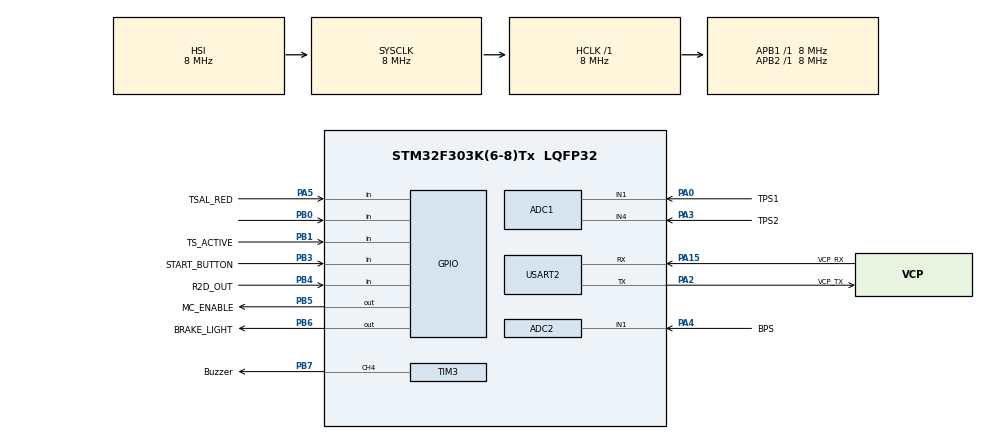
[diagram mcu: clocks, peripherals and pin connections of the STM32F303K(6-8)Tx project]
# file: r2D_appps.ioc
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ADC1.Channel-0\#ChannelRegularConversion=ADC_CHANNEL_1
ADC1.Channel-1\#ChannelRegularConversion=ADC_CHANNEL_4
ADC1.ContinuousConvMode=ENABLE
ADC1.NbrOfConversion=2
ADC1.NbrOfConversionFlag=1
ADC1.Offset-0\#ChannelRegularConversion=0
ADC1.Offset-1\#ChannelRegularConversion=0
ADC1.OffsetNumber-0\#ChannelRegularConversion=ADC_OFFSET_NONE
ADC1.OffsetNumber-1\#ChannelRegularConversion=ADC_OFFSET_NONE
ADC1.Rank-0\#ChannelRegularConversion=1
ADC1.Rank-1\#ChannelRegularConversion=2
ADC1.SamplingTime-0\#ChannelRegularConversion=ADC_SAMPLETIME_1CYCLE_5
ADC1.SamplingTime-1\#ChannelRegularConversion=ADC_SAMPLETIME_1CYCLE_5
ADC1.SamplingTimeOPAMP-1\#ChannelRegularConversion=ADC_SAMPLETIME_4CYCLES_5
ADC1.SequencerNbRanks=1
ADC1.SubFamily=STM32F303x8
ADC1.master=1
ADC2.Channel-0\#ChannelRegularConversion=ADC_CHANNEL_1
ADC2.ContinuousConvMode=ENABLE
ADC2.NbrOfConversionFlag=1
ADC2.Offset-0\#ChannelRegularConversion=0
ADC2.OffsetNumber-0\#ChannelRegularConversion=ADC_OFFSET_NONE
ADC2.Rank-0\#ChannelRegularConversion=1
ADC2.SamplingTime-0\#ChannelRegularConversion=ADC_SAMPLETIME_1CYCLE_5
ADC2.SamplingTimeOPAMP-0\#ChannelRegularConversion=ADC_SAMPLETIME_4CYCLES_5
ADC2.SubFamily=STM32F303x8
Mcu.Family=STM32F3
Mcu.Name=STM32F303K(6-8)Tx
Mcu.Package=LQFP32
NVIC.PriorityGroup=NVIC_PRIORITYGROUP_4
PA0.GPIO_Label=TPS1
PA0.Mode=IN1-Single-Ended
PA0.Signal=ADC1_IN1
PA13.GPIO_Label=SWDIO
PA13.Mode=Serial_Wire
PA13.Signal=SYS_JTMS-SWDIO
PA14.GPIO_Label=SWCLK
PA14.Mode=Serial_Wire
PA14.Signal=SYS_JTCK-SWCLK
PA15.GPIO_Label=VCP_RX
PA15.Mode=Asynchronous
PA15.Signal=USART2_RX
PA2.GPIO_Label=VCP_TX
PA2.Mode=Asynchronous
PA2.Signal=USART2_TX
PA3.GPIO_Label=TPS2
PA3.Mode=IN4-Single-Ended
PA3.Signal=ADC1_IN4
PA4.GPIO_Label=BPS
PA4.Mode=IN1-Single-Ended
PA4.Signal=ADC2_IN1
PA5.GPIO_Label=TSAL_RED
PA5.Signal=GPIO_Input
PB0.Signal=GPIO_Input
PB1.GPIO_Label=TS_ACTIVE
PB1.Signal=GPIO_Input
PB3.GPIO_Label=START_BUTTON
PB3.Signal=GPIO_Input
PB4.GPIO_Label=R2D_OUT
PB4.Signal=GPIO_Input
PB5.GPIO_Label=MC_ENABLE
PB5.Signal=GPIO_Output
PB6.GPIO_Label=BRAKE_LIGHT
PB6.Signal=GPIO_Output
PB7.GPIO_Label=Buzzer
PB7.Signal=S_TIM3_CH4
PF0\ /\ OSC_IN.GPIO_Label=MCO
PF0\ /\ OSC_IN.Mode=HSE-External-Clock-Source
PF0\ /\ OSC_IN.Signal=RCC_OSC_IN
ProjectManager.HeapSize=0x200
ProjectManager.StackSize=0x400
ProjectManager.TargetToolchain=STM32CubeIDE
RCC.AHBFreq_Value=8000000
RCC.APB1Freq_Value=8000000
RCC.APB2Freq_Value=8000000
RCC.CortexFreq_Value=8000000
RCC.HSE_VALUE=8000000
RCC.HSI_VALUE=8000000
RCC.SYSCLKFreq_VALUE=8000000
SH.S_TIM3_CH4.0=TIM3_CH4,PWM Generation4 CH4
TIM3.Channel-PWM\ Generation4\ CH4=TIM_CHANNEL_4
USART2.VirtualMode-Asynchronous=VM_ASYNC
board=NUCLEO-F303K8

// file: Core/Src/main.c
/* USER CODE BEGIN Header */
/**
  ******************************************************************************
  * @file           : main.c
  * @brief          : Main program body
  ******************************************************************************
  * @attention
  *
  * Copyright (c) 2025 STMicroelectronics.
  * All rights reserved.
  *
  * This software is licensed under terms that can be found in the LICENSE file
  * in the root directory of this software component.
  * If no LICENSE file comes with this software, it is provided AS-IS.
  *
  ******************************************************************************
  */
/* USER CODE END Header */
#include "main.h"
#include "adc.h"
#include "tim.h"
#include "usart.h"
#include "gpio.h"
#include "string.h"
#include "stdio.h"
#include "math.h"

/* USER CODE BEGIN PD */
//#define START_BUTTON GPIO_PIN_3
//#define START_BUTTON_GPIO_PIN_PORT GPIOB
//
//#define TS_ACTIVE GPIO_PIN_1
//#define TS_ACTIVE_GPIO_PIN_PORT GPIOB
//
////#define GSS GPIO_PIN_3
////#define GSS_GPIO_PIN_PORT GPIOB
//
////#define BRAKE_LIGHT GPIO_PIN_6
////#define BRAKE_LIGHT_GPIO_PIN_PORT GPIOB
//
//#define BUZZER GPIO_PIN_7
//#define BUZZER_GPIO_PIN_PORT GPIOB
//
//#define TSAL_RED GPIO_PIN_5
//#define TSAL_RED_GPIO_PIN_PORT GPIOA

#define MC_ENABLE GPIO_PIN_5
#define MC_ENABLE_GPIO_PIN_PORT GPIOB

#define R2D_OUT GPIO_PIN_4
#define R2D_OUT_GPIO_PIN_PORT GPIOB
/* USER CODE END PD */

/* USER CODE BEGIN PV */
//uint16_t readValue1;
//uint16_t readValue2;
//uint16_t ch1, ch4;
uint8_t tps1_raw = 0;
uint8_t tps2_raw = 0;
float percent1;
float percent2;
uint32_t tps_values[2];
uint32_t adc_buf[2];
float tps1 = 0, tps2 = 0, diff = 0;
float voltage=0, pressure=0;
int r2d=GPIO_PIN_RESET;
int mc=GPIO_PIN_RESET;
//int tsal_red=GPIO_PIN_RESET;
//int ts= GPIO_PIN_RESET;
//int start= GPIO_PIN_RESET;
//int gss= GPIO_PIN_RESET;

//MC_ENABLE  = GPIO_PIN_RESET;
//R2D_OUT =GPIO_PIN_RESET;
//TSAL_RED =GPIO_PIN_RESET;

int counter = 1;
unsigned long previous_millis = 0;
unsigned long current_millis=0;
char msg[100];
char msg1[100];
//uint16_t adc_buffer[2];

/* USER CODE END PV */

void SystemClock_Config(void);

/* USER CODE BEGIN 0 */
int write (int file,char *ptr ,int len ){
	HAL_UART_Transmit(&huart2,(uint8_t*)ptr,len,HAL_MAX_DELAY);
	return len ;
}
//void safe_state(void){
//	if(((ts == GPIO_PIN_SET)&(tsal_red == GPIO_PIN_SET)) || ((ts == GPIO_PIN_RESET)&(tsal_red == GPIO_PIN_RESET))){
//
//		HAL_GPIO_WritePin(GPIOB, GSS, GPIO_PIN_SET);
//	}
//	else{
//
//		HAL_GPIO_WritePin(GPIOB, GSS, GPIO_PIN_RESET);
//	}
//}
//void R2D_status(void){
//	if (counter == 0){
//		if ((start == GPIO_PIN_SET) & (ts == GPIO_PIN_SET) & (voltage > 0.5 )){
//			HAL_TIM_PWM_Start(&htim3,TIM_CHANNEL_4);
//			HAL_Delay(2500);
//			HAL_TIM_PWM_Stop(&htim3,TIM_CHANNEL_4);
//			r2d = GPIO_PIN_SET;
//			counter ++;
//		}
//
//	}
//	if (counter != 0){
//		if (ts == GPIO_PIN_RESET){
//			counter = 0 ;
////			r2d = GPIO_PIN_RESET;
//		}
//	}
//
//}
void apps(void){
	 diff = fabs(tps1 - tps2);
    tps1 = ((float)tps1_raw * 3.3f) / 4095.0f;
	       tps2=((float)tps2_raw*3.3f)/4095.0f;

           percent1=(tps1/3.3)*100;
           percent2=(tps2/2.5)*100;

	 diff=fabsf(percent1-percent2);

	  if ((tps1 == tps2) || diff>10 || tps1 ==0.0|| tps2 ==0.0) {
			if ((current_millis - previous_millis) >= 100) {
			if(r2d == GPIO_PIN_RESET || r2d==GPIO_PIN_SET){
			HAL_GPIO_WritePin(GPIOB,MC_ENABLE, GPIO_PIN_RESET);
			previous_millis = current_millis;
		//    		            		HAL_Delay(500);
			}
		}
			}
			else {
				if ((r2d == GPIO_PIN_SET)){
					HAL_GPIO_WritePin(GPIOB, MC_ENABLE, GPIO_PIN_SET);
					HAL_GPIO_TogglePin(GPIOB, GPIO_PIN_3);

					}
			}

}
//void apps(void){
//	 diff = fabs(tps1 - tps2);
//	 current_millis = HAL_GetTick();
//
//		if (counter>= 0){
//			if ((tps1 == tps2) || diff >= 0.2f || tps1 ==0.0|| tps2 ==0.0) {
//						if ((current_millis - previous_millis) >= 100) {
//								if(r2d == GPIO_PIN_RESET || r2d==GPIO_PIN_SET){
//									HAL_GPIO_WritePin(GPIOB,MC_ENABLE, GPIO_PIN_RESET);
//										previous_millis = current_millis;
//		//    		            		HAL_Delay(500);
//										counter = 0 ;
//								}
//						}
//			}
//			else {
//				if ((r2d == GPIO_PIN_SET)){
//					HAL_GPIO_WritePin(GPIOB, MC_ENABLE, GPIO_PIN_SET);
//					HAL_GPIO_TogglePin(GPIOB, GPIO_PIN_3);
//					HAL_Delay(500);
//					counter++;
//				}
//			}
//		}
//}
/* USER CODE END 0 */

int main(void)
{

  /* MCU Configuration--------------------------------------------------------*/

  /* Reset of all peripherals, Initializes the Flash interface and the Systick. */
  HAL_Init();

  /* Configure the system clock */
  SystemClock_Config();

  /* Initialize all configured peripherals */
  MX_GPIO_Init();
  MX_USART2_UART_Init();
  MX_ADC1_Init();
  MX_ADC2_Init();
  MX_TIM3_Init();
  /* USER CODE BEGIN 2 */
//  R2D_status();
  //  HAL_GPIO_WritePin(GPIOB,MC_ENABLE, GPIO_PIN_RESET);
  HAL_GPIO_WritePin(GPIOB, MC_ENABLE, GPIO_PIN_RESET);
//  HAL_GPIO_WritePin(GPIOB, R2D_OUT, GPIO_PIN_RESET);
  //HAL_GPIO_WritePin(GPIOA, TSAL_RED, GPIO_PIN_RESET);
  //HAL_GPIO_WritePin(GPIOB, GSS, GPIO_PIN_RESET);

  /* USER CODE END 2 */

  /* Infinite loop */
  while (1)
  {
	  		  //	  HAL_ADC_Start(&hadc1);
	  current_millis = HAL_GetTick();
		sprintf(msg1,"millis %ld", current_millis);
			  		        HAL_UART_Transmit(&huart2,(uint8_t*)msg1,strlen(msg1),HAL_MAX_DELAY);

			  		             HAL_ADC_Start(&hadc1);
			  		        	 HAL_ADC_PollForConversion(&hadc1,HAL_MAX_DELAY);
			  		    	 	 tps1_raw = HAL_ADC_GetValue(&hadc1);
			  		      	     HAL_ADC_Stop(&hadc1);

			  		      	     HAL_ADC_Start(&hadc2);
			  		             HAL_ADC_PollForConversion(&hadc2, HAL_MAX_DELAY);
			  		      	     tps2_raw = HAL_ADC_GetValue(&hadc2);
			  		      	     HAL_ADC_Stop(&hadc2);
			  		      	 	 tps1 = ((float)tps1_raw * 3.3f) / 4095.0f;
			  		      	 	 tps2=((float)tps2_raw*3.3f)/4095.0f;

			  		      	 	 percent1=(tps1/3.3)*100;
			  		      	 	 percent2=(tps2/2.5)*100;

			  		      		      apps();
			  		      		      r2d = HAL_GPIO_ReadPin(GPIOB, R2D_OUT);
			  		      		      mc = HAL_GPIO_ReadPin(GPIOB, MC_ENABLE);

			  		      		      sprintf(msg,"RAW: %d, %d\r\n", tps_values[0], tps_values[1]);
			  		      		      HAL_UART_Transmit(&huart2,(uint8_t*)msg,strlen(msg),HAL_MAX_DELAY);
			  		      	          sprintf(msg1,"TPS1= %.2f V,TPS2= %.2f V ,MC_Enable: %ld, R2D: %ld\r\n", tps1,tps2,mc,r2d);
			  		      	   	      HAL_UART_Transmit(&huart2,(uint8_t*)msg1,strlen(msg1),HAL_MAX_DELAY);

	  		  	  //	  // Wait for both conversions
	  		  	  //	  for (int i = 0; i < 2; i++) {
	  		  	  //	      if (HAL_ADC_PollForConversion(&hadc1, HAL_MAX_DELAY) == HAL_OK) {
	  		  	  //	          adc_buffer[i] = HAL_ADC_GetValue(&hadc1);
	  		  	  //	      }
	  		  	  //	  }
	  		  	  //
	  		  	  //	  HAL_ADC_Stop(&hadc1);
	  		  	  //
	  		  	  //	  tps1_raw = adc_buffer[0]; // First channel
	  		  	  //	  tps2_raw = adc_buffer[1]; // Second channel
	  		  	  //	  HAL_ADC_Start(&hadc2);  // Start ADC2 (independent)  // Dual mode
	  		  	  ////
	  		  	  ////	  HAL_ADCEx_MultiModeStart_DMA(&hadc1,(uint32_t*)tps_values, 2);
	  		  	  //	  HAL_ADCEx_MultiModeStart_DMA(&hadc1, (uint32_t*)adc_buf, 2);
	  		  	  //	  uint16_t tps1_raw = adc_buf[0] & 0xFFFF;         // ADC1 result
	  		  	  //	  uint16_t tps2_raw = (adc_buf[0] >> 16) & 0xFFFF; // ADC2 result

	  		  	  	  // Convert to voltage
	  		  	  //	HAL_GPIO_TogglePin(GPIOB, GPIO_PIN_3);
	  		  	  //HAL_Delay(500);
//	  		  	  HAL_ADC_Start(&hadc1);
//	  		  	  HAL_ADC_PollForConversion(&hadc1, HAL_MAX_DELAY);
//	  		  	  tps1_raw = HAL_ADC_GetValue(&hadc1);
//
//	  		  	  HAL_ADC_PollForConversion(&hadc1, HAL_MAX_DELAY);
//	  		  	  tps2_raw = HAL_ADC_GetValue(&hadc1);
//	  		   	  HAL_ADC_Stop(&hadc1);
//	  		        tps1 = (tps1_raw / 4096.0f) * 3.3f;
//	  		        tps2 = (tps2_raw / 4096.0f) * 3.3f;

	  		        //	      tps1 = (float)tps1_raw / 4095.0f * 3.3f;
	  		        //	      tps2 = (float)tps2_raw / 4095.0f * 3.3f; // temporarily set equal
	  		        //	      voltage = (bps_raw / 4095.0f) * 3.3f;
	  		        //	      voltage -= 0.5f;
	  		        //	      pressure = (voltage / 0.825f) * 100.0f;
	  		        //BPS
//	  		          HAL_ADC_Start(&hadc2);
//	  		  	      HAL_ADC_PollForConversion(&hadc2,HAL_MAX_DELAY);
//	  		  	      bps_raw = HAL_ADC_GetValue(&hadc2);
//	  		  	      HAL_ADC_Stop(&hadc2);
//	  		  	      //voltage = ADC_to_Voltage(adc_value);
//	  		  	      voltage = (bps_raw / 4096.0f) * 3.3f;
//	  		  	      voltage-=0.5;
//	  		  	      pressure = (voltage / (0.825f)) * 100.0f;
//	  		  	      sprintf(msg, "ADC_Value = %d, V: %.2f V, P: %.2f bar \r\n", bps_raw, voltage, pressure);
//	  		  	      HAL_UART_Transmit(&huart2, (uint8_t*)msg, strlen(msg), HAL_MAX_DELAY);
//
//	  		          ts = HAL_GPIO_ReadPin(GPIOB, TS_ACTIVE);
//	  		          start = HAL_GPIO_ReadPin(GPIOB, START_BUTTON);
//	  		          //tsal_red = HAL_GPIO_ReadPin(GPIOA, TSAL_RED);
//
//	  		        	     //  R2D logic
//	  		        	      R2D_status();
	  		        	    //safe_state();

	  }
}

void SystemClock_Config(void)
{
  RCC_OscInitTypeDef RCC_OscInitStruct = {0};
  RCC_ClkInitTypeDef RCC_ClkInitStruct = {0};
  RCC_PeriphCLKInitTypeDef PeriphClkInit = {0};

  /** Initializes the RCC Oscillators according to the specified parameters
  * in the RCC_OscInitTypeDef structure.
  */
  RCC_OscInitStruct.OscillatorType = RCC_OSCILLATORTYPE_HSI;
  RCC_OscInitStruct.HSIState = RCC_HSI_ON;
  RCC_OscInitStruct.HSICalibrationValue = RCC_HSICALIBRATION_DEFAULT;
  RCC_OscInitStruct.PLL.PLLState = RCC_PLL_ON;
  RCC_OscInitStruct.PLL.PLLSource = RCC_PLLSOURCE_HSI;
  RCC_OscInitStruct.PLL.PLLMUL = RCC_PLL_MUL2;
  if (HAL_RCC_OscConfig(&RCC_OscInitStruct) != HAL_OK)
  {
    Error_Handler();
  }

  /** Initializes the CPU, AHB and APB buses clocks
  */
  RCC_ClkInitStruct.ClockType = RCC_CLOCKTYPE_HCLK|RCC_CLOCKTYPE_SYSCLK
                              |RCC_CLOCKTYPE_PCLK1|RCC_CLOCKTYPE_PCLK2;
  RCC_ClkInitStruct.SYSCLKSource = RCC_SYSCLKSOURCE_HSI;
  RCC_ClkInitStruct.AHBCLKDivider = RCC_SYSCLK_DIV1;
  RCC_ClkInitStruct.APB1CLKDivider = RCC_HCLK_DIV1;
  RCC_ClkInitStruct.APB2CLKDivider = RCC_HCLK_DIV1;

  if (HAL_RCC_ClockConfig(&RCC_ClkInitStruct, FLASH_LATENCY_0) != HAL_OK)
  {
    Error_Handler();
  }
  PeriphClkInit.PeriphClockSelection = RCC_PERIPHCLK_ADC12;
  PeriphClkInit.Adc12ClockSelection = RCC_ADC12PLLCLK_DIV1;
  if (HAL_RCCEx_PeriphCLKConfig(&PeriphClkInit) != HAL_OK)
  {
    Error_Handler();
  }
}

void Error_Handler(void)
{
  __disable_irq();
  while (1)
  {
  }
}
